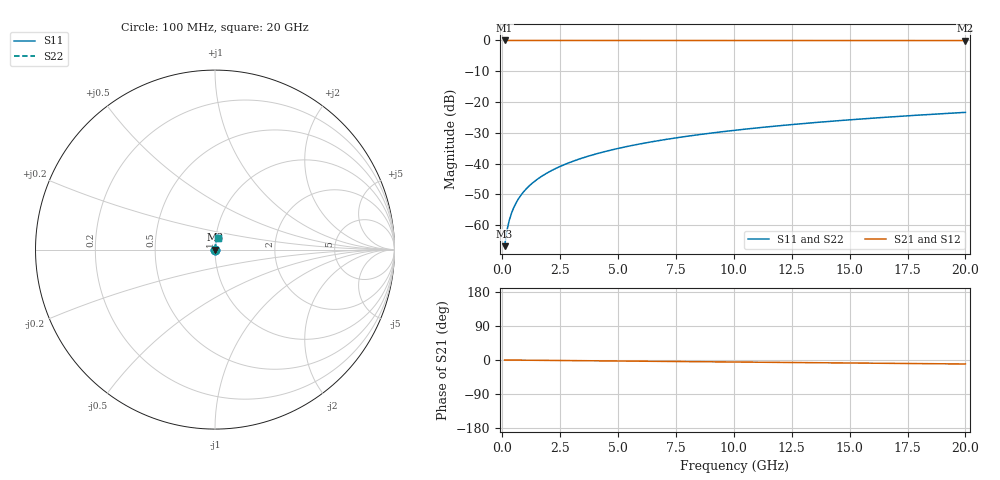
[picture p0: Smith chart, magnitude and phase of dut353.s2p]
! Touchstone file exported from HFSS 2026.1.0
!  File:  C:/ffzhzh/LocalFiles/Ansys_Project_Files/temp_train_TSV_353_1783019137_46388.aedt
!  Generated:  03:07:27 AM Jul  3, 2026
!  Design:  TSV
!  Project:  temp_train_TSV_353_1783019137_46388
! Variables:
!  h_bsmrdl = 2um
!  h_ox = 20um
!  h_rdl = 5um
!  h_sub = 96.92um
!  h_tmrdl = 5um
!  h_tsv = 96.92um
!  h_via = 3um
!  l_bsmrdl = 300um
!  l_sub = 414.9um
!  l_tmrdl = 200um
!  m_sub = 200um
!  pitch = 51.46um
!  r_tsv = 7.45um
!  s_tmrdl = 10um
!  w_bsmrdl = 18um
!  w_sub = 500um
!  w_tmrdl = 12um
!  x_tsv_center1 = 206um
!  x_tsv_center2 = 524um
!  x_tsv_center3 = 736um
!  x_tsv_center4 = 1054um
!  x_tsv_center5 = 1266um
!  x_tsv_center6 = 1584um
# GHz S MA R 50.000000
! Terminal data exported
! Port[1] = TSV1_1_T1
! Port[2] = TSV1_1_T2
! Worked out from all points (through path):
!   200 points, 100 MHz to 20 GHz, reference 50 ohm
!   highest |S21| = 0.00 dB at 100 MHz (marker M1); lowest = 0.0 dB at 20 GHz (marker M2)
!   group delay of S21, straight-line fit = 1.46 ps
!   lowest |S11| = -66.8 dB at 100 MHz (marker M3), VSWR 1.00, Z = 50 + j0.0391 ohm
!   |S11| at or under -10 dB: start of sweep to end of sweep
!   |S22| runs from -66.8 to -23.4 dB; largest |S21 - S12| = 4.2e-15
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0.1  0.000455 59.1  0.9998 -0.1  0.9998 -0.1  0.000455 59.1
! Gamma 0 0 0 0
! Port Impedance 50 0 50 0
0.2  0.0008165 72.5  0.9998 -0.1  0.9998 -0.1  0.0008165 72.5
0.3  0.001193 77.2  0.9997 -0.2  0.9997 -0.2  0.001193 77.2
0.4  0.00157 79.5  0.9997 -0.2  0.9997 -0.2  0.00157 79.5
0.5  0.001944 80.7  0.9997 -0.3  0.9997 -0.3  0.001944 80.7
0.6  0.002314 81.5  0.9997 -0.3  0.9997 -0.3  0.002314 81.5
0.7  0.00268 82.0  0.9996 -0.4  0.9996 -0.4  0.00268 82.0
0.8  0.003043 82.4  0.9996 -0.4  0.9996 -0.4  0.003043 82.4
1  0.003758 82.9  0.9996 -0.5  0.9996 -0.5  0.003758 82.9
1.4  0.005166 83.6  0.9995 -0.8  0.9995 -0.8  0.005166 83.6
1.7  0.006213 84.0  0.9994 -0.9  0.9994 -0.9  0.006213 84.0
2  0.007257 84.2  0.9994 -1.1  0.9994 -1.1  0.007257 84.2
2.7  0.009687 84.5  0.9993 -1.4  0.9993 -1.4  0.009687 84.5
3.5  0.01245 84.6  0.9992 -1.9  0.9992 -1.9  0.01245 84.6
4.2  0.01487 84.5  0.9991 -2.2  0.9991 -2.2  0.01487 84.5
5  0.01761 84.4  0.9989 -2.7  0.9989 -2.7  0.01761 84.4
6.8  0.02376 83.8  0.9986 -3.6  0.9986 -3.6  0.02376 83.8
8.3  0.02885 83.3  0.9984 -4.4  0.9984 -4.4  0.02885 83.3
10.1  0.03493 82.5  0.9981 -5.3  0.9981 -5.3  0.03493 82.5
13.4  0.04601 81.1  0.9975 -7.1  0.9975 -7.1  0.04601 81.1
16.7  0.057 79.5  0.9967 -8.8  0.9967 -8.8  0.057 79.5
20  0.06787 77.9  0.9959 -10.5  0.9959 -10.5  0.06787 77.9
